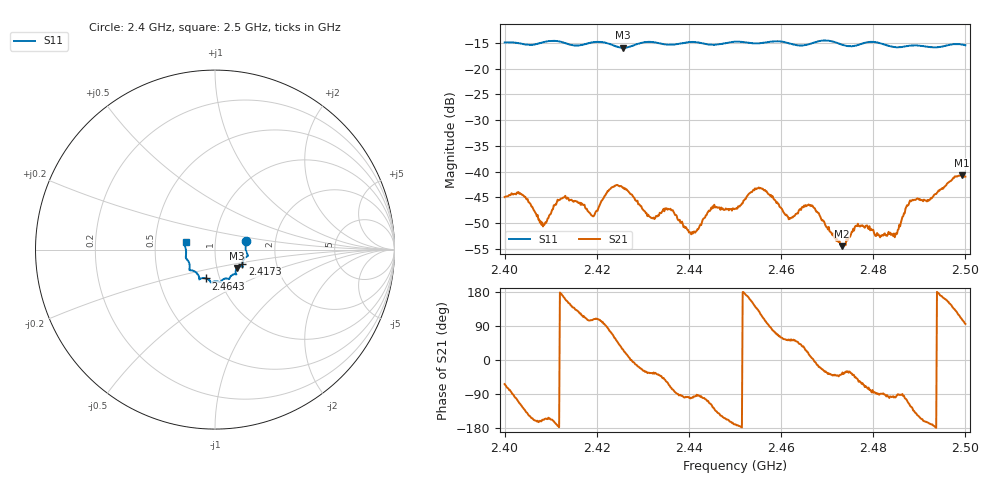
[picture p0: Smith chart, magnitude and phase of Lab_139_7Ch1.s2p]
# Hz S RI R 50
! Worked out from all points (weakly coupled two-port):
!   601 points, 2.4 GHz to 2.5 GHz, reference 50 ohm
!   highest |S21| = -40.72 dB at 2.4992 GHz (marker M1); lowest = -54.5 dB at 2.4732 GHz (marker M2)
!   lowest |S11| = -15.9 dB at 2.4257 GHz (marker M3), VSWR 1.38, Z = 62.5 - j13.1 ohm
!   |S11| at or under -10 dB: start of sweep to end of sweep
!   S12 and S22 are empty: the file has one direction only
!   S11 on the Smith chart (normalised r, x): 2.4 GHz: 1.41, +0.14; 2.4173 GHz: 1.34, -0.23; 2.4643 GHz: 0.86, -0.28; 2.5 GHz: 0.72, +0.06
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2.4e9  0.173 0.0495  0.0025 -0.00505  0 0  0 0
2.403833e9  0.1723 0.0272  -0.00329 -0.0049  0 0  0 0
2.4085e9  0.1799 -0.0248  -0.00282 -0.00114  0 0  0 0
2.412667e9  0.1762 -0.0392  -0.00547 0.00106  0 0  0 0
2.416667e9  0.1529 -0.0745  -0.00238 0.00433  0 0  0 0
2.417333e9  0.1522 -0.0818  -0.00184 0.00438  0 0  0 0
2.419167e9  0.1536 -0.0955  -0.00105 0.00351  0 0  0 0
2.425667e9  0.1228 -0.1022  0.00611 0.00328  0 0  0 0
2.433333e9  0.113 -0.137  0.00297 -0.00231  0 0  0 0
2.440833e9  0.0782 -0.1647  -0.000415 -0.00245  0 0  0 0
2.445167e9  0.0546 -0.1618  -0.00264 -0.00376  0 0  0 0
2.45e9  0.0294 -0.1809  -0.00427 -0.000791  0 0  0 0
2.455167e9  0.000424 -0.1768  -0.00439 0.00545  0 0  0 0
2.461833e9  -0.0289 -0.1738  0.00215 0.00279  0 0  0 0
2.464333e9  -0.0498 -0.1607  0.0032 0.00277  0 0  0 0
2.466667e9  -0.0758 -0.1596  0.00467 0.000407  0 0  0 0
2.473167e9  -0.0921 -0.1452  0.00149 -0.00115  0 0  0 0
2.4765e9  -0.1216 -0.1177  0.00193 -0.00222  0 0  0 0
2.483333e9  -0.1406 -0.09  -0.000358 -0.00256  0 0  0 0
2.488333e9  -0.1608 -0.0492  -0.00293 -0.0043  0 0  0 0
2.499167e9  -0.1681 0.0377  -0.00302 0.00869  0 0  0 0
2.5e9  -0.1637 0.0427  -0.00082 0.00889  0 0  0 0
